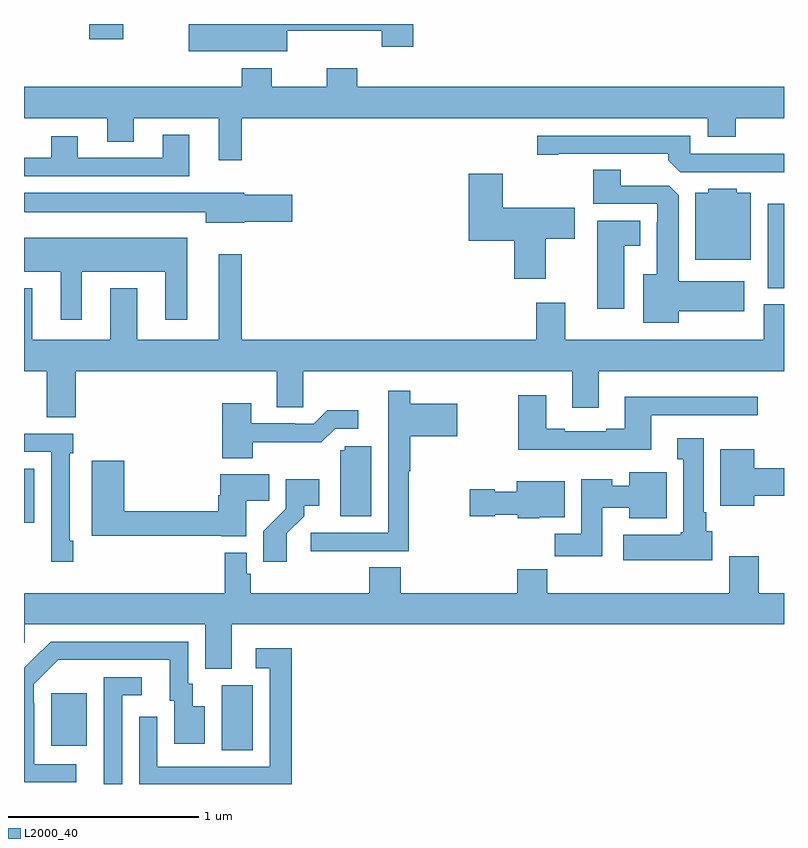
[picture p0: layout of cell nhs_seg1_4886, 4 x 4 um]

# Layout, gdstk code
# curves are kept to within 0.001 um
import gdstk
lib = gdstk.Library(unit=1e-6, precision=1e-09)
def R(c, l, rs):  # rectangles x0, y0, x1, y1
    for r in rs: c.add(gdstk.rectangle(r[:2], r[2:], *l))
def P(c, l, *ps):  # polygons
    for p in ps: c.add(gdstk.Polygon(p, *l))
L2000_40 = (2000, 40)

nhs_seg1_4886 = lib.new_cell('nhs_seg1_4886')
R(nhs_seg1_4886, L2000_40, [(376.04,576.376,376.204,576.72), (375.143,576.401,375.331,576.676), (375,577.574,375.055,577.858), (378.914,578.809,379,579.253), (375.344,580.119,375.522,580.199)])
P(nhs_seg1_4886, L2000_40, [(376.386,580.163),(376.883,580.163),(376.883,580.08),(377.048,580.08),(377.048,580.199),(375.867,580.199),(375.867,580.055),(376.386,580.055)],
  [(376.147,579.704),(378.599,579.704),(378.599,579.605),(378.747,579.605),(378.747,579.704),(379,579.704),(379,579.868),(376.754,579.868),(376.754,579.967),(376.594,579.967),(376.594,579.868),(376.305,579.868),(376.305,579.967),(376.145,579.967),(376.145,579.868),(375,579.868),(375,579.704),(375.437,579.704),(375.437,579.58),(375.577,579.58),(375.577,579.704),(376.025,579.704),(376.025,579.483),(376.147,579.483)],
  [(375.871,579.616),(375.731,579.616),(375.731,579.495),(375.283,579.495),(375.283,579.607),(375.143,579.607),(375.143,579.495),(375,579.495),(375,579.399),(375.871,579.399)],
  [(379,579.516),(378.507,579.516),(378.507,579.612),(377.7,579.612),(377.7,579.511),(377.812,579.511),(377.812,579.516),(378.392,579.516),(378.392,579.482),(378.453,579.42),(379,579.42)],
  [(378.445,578.687),(378.79,578.687),(378.79,578.845),(378.445,578.845),(378.445,579.299),(378.396,579.348),(378.142,579.348),(378.142,579.431),(377.995,579.431),(377.995,579.252),(378.333,579.252),(378.333,579.155),(378.329,579.155),(378.329,578.881),(378.26,578.881),(378.26,578.627),(378.445,578.627)],
  [(377.746,579.07),(377.899,579.07),(377.899,579.232),(377.52,579.232),(377.52,579.412),(377.342,579.412),(377.342,579.059),(377.579,579.059),(377.579,578.859),(377.746,578.859)],
  [(378.826,579.31),(378.75,579.31),(378.75,579.331),(378.6,579.331),(378.6,579.31),(378.533,579.31),(378.533,578.957),(378.826,578.957)],
  [(376.158,579.158),(376.411,579.158),(376.411,579.3),(376.158,579.3),(376.158,579.31),(375,579.31),(375,579.209),(375.956,579.209),(375.956,579.152),(376.158,579.152)],
  [(378.16,579.032),(378.244,579.032),(378.244,579.163),(378.017,579.163),(378.017,578.7),(378.16,578.7)],
  [(375.304,578.894),(375.743,578.894),(375.743,578.643),(375.859,578.643),(375.859,579.073),(375,579.073),(375,578.894),(375.194,578.894),(375.194,578.643),(375.304,578.643)],
  [(375.272,578.372),(376.331,578.372),(376.331,578.182),(376.47,578.182),(376.47,578.372),(377.885,578.372),(377.885,578.178),(378.025,578.178),(378.025,578.372),(379,578.372),(379,578.724),(378.893,578.724),(378.893,578.536),(377.848,578.536),(377.848,578.731),(377.696,578.731),(377.696,578.536),(376.147,578.536),(376.147,578.986),(376.025,578.986),(376.025,578.536),(375.595,578.536),(375.595,578.809),(375.455,578.809),(375.455,578.536),(375.043,578.536),(375.043,578.809),(375,578.809),(375,578.372),(375.119,578.372),(375.119,578.128),(375.272,578.128)],
  [(376.733,577.425),(377.026,577.425),(377.026,577.846),(377.033,577.846),(377.033,578.03),(377.281,578.03),(377.281,578.2),(377.033,578.2),(377.033,578.269),(376.916,578.269),(376.916,578.046),(376.917,578.046),(376.917,577.521),(376.509,577.521),(376.509,577.423),(376.733,577.423)],
  [(378.301,578.139),(378.862,578.139),(378.862,578.236),(378.161,578.236),(378.161,578.068),(378.065,578.068),(378.065,578.055),(377.845,578.055),(377.845,578.068),(377.749,578.068),(377.749,578.245),(377.602,578.245),(377.602,577.958),(378.301,577.958)],
  [(376.203,577.998),(376.565,577.997),(376.638,578.07),(376.759,578.07),(376.759,578.167),(376.597,578.167),(376.524,578.094),(376.424,578.094),(376.424,578.097),(376.195,578.097),(376.195,578.203),(376.043,578.203),(376.043,577.913),(376.203,577.913)],
  [(375.26,577.48),(375.24,577.48),(375.24,577.94),(375.26,577.94),(375.26,578.043),(375,578.043),(375,577.947),(375.144,577.947),(375.144,577.368),(375.26,577.368)],
  [(378.622,577.53),(378.592,577.53),(378.592,577.63),(378.577,577.63),(378.577,578.02),(378.437,578.02),(378.437,577.907),(378.47,577.907),(378.47,577.524),(378.457,577.524),(378.457,577.51),(378.153,577.51),(378.153,577.376),(378.622,577.376)],
  [(376.828,577.977),(376.689,577.977),(376.689,577.956),(376.664,577.956),(376.664,577.608),(376.828,577.608)],
  [(378.844,577.715),(379,577.715),(379,577.862),(378.844,577.862),(378.844,577.96),(378.665,577.96),(378.665,577.664),(378.844,577.664)],
  [(376.171,577.69),(376.292,577.69),(376.292,577.828),(376.034,577.828),(376.034,577.718),(376.022,577.718),(376.022,577.634),(375.527,577.634),(375.527,577.9),(375.356,577.9),(375.356,577.506),(376.038,577.506),(376.038,577.502),(376.171,577.502)],
  [(378.043,577.654),(378.185,577.654),(378.185,577.598),(378.382,577.598),(378.382,577.84),(378.185,577.84),(378.185,577.769),(378.097,577.769),(378.097,577.804),(377.933,577.804),(377.933,577.516),(377.794,577.516),(377.794,577.398),(378.043,577.398)],
  [(376.384,577.519),(376.474,577.609),(376.474,577.664),(376.555,577.664),(376.555,577.804),(376.377,577.804),(376.377,577.649),(376.258,577.53),(376.258,577.368),(376.384,577.368)],
  [(377.712,577.604),(377.845,577.604),(377.845,577.792),(377.594,577.792),(377.594,577.738),(377.478,577.738),(377.478,577.751),(377.346,577.751),(377.346,577.609),(377.478,577.609),(377.478,577.616),(377.598,577.616),(377.598,577.598),(377.712,577.598)],
  [(376.093,577.04),(379,577.04),(379,577.204),(378.866,577.204),(378.866,577.399),(378.713,577.399),(378.713,577.204),(377.753,577.204),(377.753,577.328),(377.597,577.328),(377.597,577.204),(376.982,577.204),(376.982,577.34),(376.817,577.34),(376.817,577.204),(376.193,577.204),(376.193,577.305),(376.173,577.305),(376.173,577.417),(376.057,577.417),(376.057,577.204),(375,577.204),(375,576.942),(375.003,576.942),(375.003,577.04),(375.953,577.04),(375.953,576.805),(376.093,576.805)],
  [(375.274,576.303),(375.054,576.303),(375.054,576.623),(375.051,576.623),(375.051,576.723),(375.18,576.852),(375.767,576.852),(375.767,576.636),(375.791,576.636),(375.791,576.411),(375.952,576.411),(375.952,576.607),(375.889,576.607),(375.889,576.726),(375.864,576.726),(375.864,576.948),(375.14,576.948),(375,576.81),(375,576.207),(375.274,576.207)],
  [(376.409,576.913),(376.221,576.913),(376.221,576.807),(376.293,576.807),(376.293,576.291),(375.702,576.291),(375.702,576.553),(375.606,576.553),(375.606,576.298),(375.607,576.298),(375.607,576.199),(376.409,576.199)],
  [(375.516,576.666),(375.619,576.666),(375.619,576.762),(375.42,576.762),(375.42,576.305),(375.419,576.305),(375.419,576.199),(375.516,576.199)])

lib.write_gds('nhs_seg1_4886.gds')
